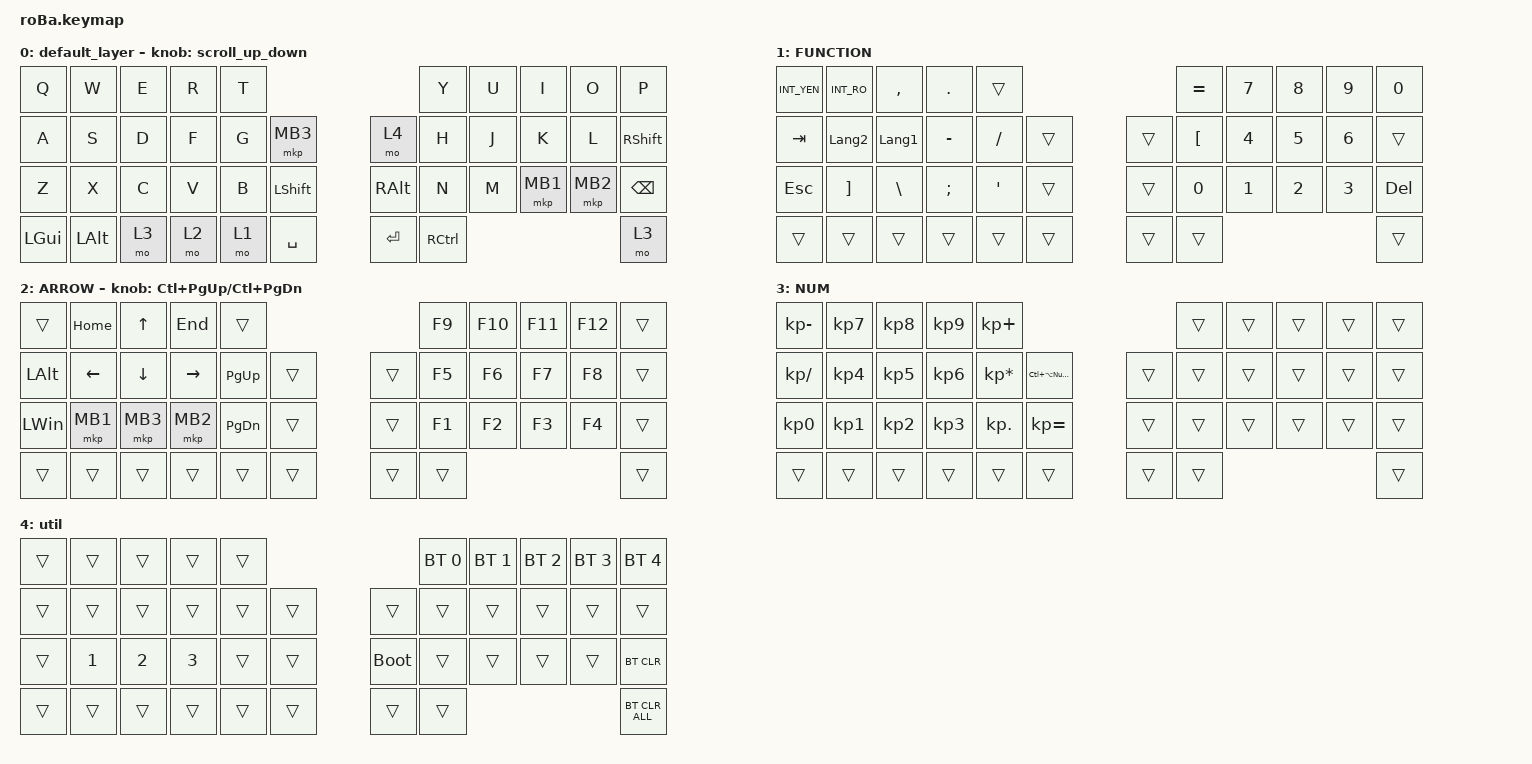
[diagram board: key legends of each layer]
#include <behaviors.dtsi>
#include <dt-bindings/zmk/bt.h>
#include <dt-bindings/zmk/keys.h>
#include <dt-bindings/zmk/pointing.h>

&mt {
    flavor = "balanced";
    quick-tap-ms = <0>;
};

&trackball {
    // automouse-layer = <4>;

    scroll-layers = <3>;

    // arrows {
    //     layers = <3>;
    //     bindings =
    //         <&kp RIGHT_ARROW>,
    //         <&kp LEFT_ARROW>,
    //         <&kp UP_ARROW>,
    //         <&kp DOWN_ARROW>;
    //     tick = <10>;
    //     wait-ms = <5>;
    //     tap-ms = <5>;
    // };
};

/ {
    combos { compatible = "zmk,combos"; };

    macros {
        to_layer_0: to_layer_0 {
            compatible = "zmk,behavior-macro-one-param";
            #binding-cells = <1>;
            bindings = <&to 0 &macro_param_1to1 &kp MACRO_PLACEHOLDER>;
            label = "TO_LAYER_0";
        };
    };

    behaviors {
        lt_to_layer_0: lt_to_layer_0 {
            compatible = "zmk,behavior-hold-tap";
            label = "LAYER_TAP_TO_0";
            bindings = <&mo>, <&to_layer_0>;

            #binding-cells = <2>;
            tapping-term-ms = <200>;
        };

        scroll_up_down: scroll_up_down {
            compatible = "zmk,behavior-sensor-rotate";
            label = "SCROLL_UP_DOWN";
            #sensor-binding-cells = <0>;
            bindings = <&msc SCRL_UP>, <&msc SCRL_DOWN>;

            tap-ms = <20>;
        };
    };

    keymap {
        compatible = "zmk,keymap";

        default_layer {
            bindings = <
&kp Q         &kp W         &kp E  &kp R  &kp T                                     &kp Y              &kp U  &kp I     &kp O     &kp P
&kp A         &kp S         &kp D  &kp F  &kp G  &mkp MB3            &mo 4          &kp H              &kp J  &kp K     &kp L     &kp RIGHT_SHIFT
&kp Z         &kp X         &kp C  &kp V  &kp B  &kp LEFT_SHIFT      &kp RIGHT_ALT  &kp N              &kp M  &mkp MB1  &mkp MB2  &kp BACKSPACE
&kp LEFT_GUI  &kp LEFT_ALT  &mo 3  &mo 2  &mo 1  &kp SPACE           &kp ENTER      &kp RIGHT_CONTROL                             &mo 3
            >;

            sensor-bindings = <&scroll_up_down>;
        };

        FUNCTION {
            bindings = <
&kp INT_YEN  &kp INT_RO         &kp COMMA       &kp PERIOD     &trans                                &kp EQUAL         &kp NUMBER_7  &kp NUMBER_8  &kp NUMBER_9  &kp N0
&kp TAB      &kp LANGUAGE_2     &kp LANGUAGE_1  &kp MINUS      &kp SLASH         &trans      &trans  &kp LEFT_BRACKET  &kp NUMBER_4  &kp NUMBER_5  &kp NUMBER_6  &trans
&kp ESCAPE   &kp RIGHT_BRACKET  &kp BACKSLASH   &kp SEMICOLON  &kp SINGLE_QUOTE  &trans      &trans  &kp NUMBER_0      &kp NUMBER_1  &kp NUMBER_2  &kp NUMBER_3  &kp DELETE
&trans       &trans             &trans          &trans         &trans            &trans      &trans  &trans                                                      &trans
            >;
        };

        ARROW {
            bindings = <
&trans        &kp HOME        &kp UP_ARROW    &kp END          &trans                             &kp F9  &kp F10  &kp F11  &kp F12  &trans
&kp LEFT_ALT  &kp LEFT_ARROW  &kp DOWN_ARROW  &kp RIGHT_ARROW  &kp PAGE_UP    &trans      &trans  &kp F5  &kp F6   &kp F7   &kp F8   &trans
&kp LEFT_WIN  &mkp MB1        &mkp MB3        &mkp MB2         &kp PAGE_DOWN  &trans      &trans  &kp F1  &kp F2   &kp F3   &kp F4   &trans
&trans        &trans          &trans          &trans           &trans         &trans      &trans  &trans                             &trans
            >;

            sensor-bindings = <&inc_dec_kp LC(PAGE_UP) LC(PAGE_DOWN)>;
        };

        NUM {
            bindings = <
&kp KP_MINUS  &kp KP_NUMBER_7  &kp KP_NUMBER_8  &kp KP_NUMBER_9  &kp KP_PLUS                                          &trans  &trans  &trans  &trans  &trans
&kp KP_SLASH  &kp KP_NUMBER_4  &kp KP_NUMBER_5  &kp KP_NUMBER_6  &kp KP_ASTERISK  &kp LC(LA(KP_NUMLOCK))      &trans  &trans  &trans  &trans  &trans  &trans
&kp KP_N0     &kp KP_NUMBER_1  &kp KP_NUMBER_2  &kp KP_NUMBER_3  &kp KP_DOT       &kp KP_EQUAL                &trans  &trans  &trans  &trans  &trans  &trans
&trans        &trans           &trans           &trans           &trans           &trans                      &trans  &trans                          &trans
            >;
        };

        util {
            bindings = <
&trans  &trans        &trans        &trans        &trans                           &bt BT_SEL 0  &bt BT_SEL 1  &bt BT_SEL 2  &bt BT_SEL 3  &bt BT_SEL 4
&trans  &trans        &trans        &trans        &trans  &trans      &trans       &trans        &trans        &trans        &trans        &trans
&trans  &kp NUMBER_1  &kp NUMBER_2  &kp NUMBER_3  &trans  &trans      &bootloader  &trans        &trans        &trans        &trans        &bt BT_CLR
&trans  &trans        &trans        &trans        &trans  &trans      &trans       &trans                                                  &bt BT_CLR_ALL
            >;
        };
    };
};
